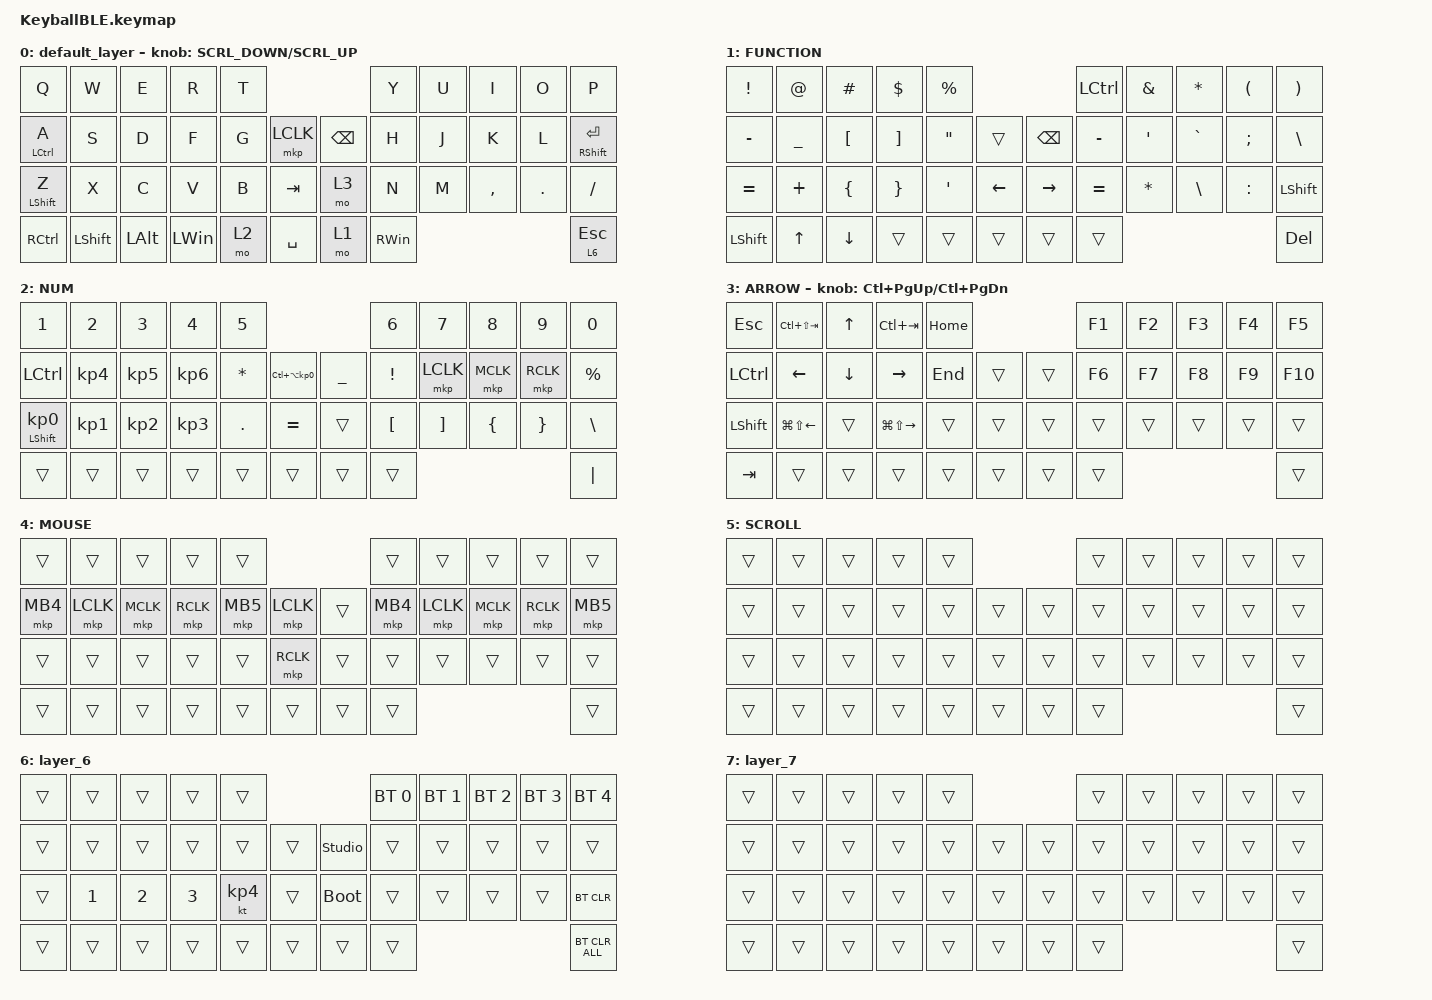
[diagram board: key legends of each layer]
#define ZMK_POINTING_DEFAULT_SCRL_VAL 120    // default: 10

#include <behaviors.dtsi>
#include <dt-bindings/zmk/bt.h>
#include <dt-bindings/zmk/keys.h>
#include <dt-bindings/zmk/pointing.h>

#define MOUSE 4
#define SCROLL 5
#define NUM 6

&mt {
    flavor = "balanced";
    quick-tap-ms = <0>;
};

/ {
    combos {
        compatible = "zmk,combos";

        double_quotation {
            bindings = <&kp DOUBLE_QUOTES>;
            key-positions = <20 21>;
        };
    };

    macros {
        to_layer_0: to_layer_0 {
            compatible = "zmk,behavior-macro-one-param";
            #binding-cells = <1>;
            bindings = <&to 0 &macro_param_1to1 &kp MACRO_PLACEHOLDER>;
            label = "TO_LAYER_0";
        };
    };

    behaviors {
        lt_to_layer_0: lt_to_layer_0 {
            compatible = "zmk,behavior-hold-tap";
            label = "LAYER_TAP_TO_0";
            bindings = <&mo>, <&to_layer_0>;

            #binding-cells = <2>;
            tapping-term-ms = <200>;
        };

        ROTATE: ROTATE {
            compatible = "zmk,behavior-sensor-rotate-var";
            label = "ROTATE";
            #sensor-binding-cells = <2>;
            bindings = <&msc>, <&msc>;

            tap-ms = <20>;
        };
    };

    keymap {
        compatible = "zmk,keymap";

        default_layer {
            bindings = <
&kp Q             &kp W           &kp E         &kp R         &kp T                                &kp Y          &kp U  &kp I      &kp O    &kp P
&mt LCTRL A       &kp S           &kp D         &kp F         &kp G  &mkp LCLK      &kp BACKSPACE  &kp H          &kp J  &kp K      &kp L    &mt RIGHT_SHIFT ENTER
&mt LEFT_SHIFT Z  &kp X           &kp C         &kp V         &kp B  &kp TAB        &mo 3          &kp N          &kp M  &kp COMMA  &kp DOT  &kp SLASH
&kp RCTRL         &kp LEFT_SHIFT  &kp LEFT_ALT  &kp LEFT_WIN  &mo 2  &kp SPACE      &mo 1          &kp RIGHT_WIN                             &lt 6 ESCAPE
            >;

            sensor-bindings = <&ROTATE SCRL_DOWN SCRL_UP>;
        };

        FUNCTION {
            bindings = <
&kp EXCLAMATION  &kp AT_SIGN     &kp POUND         &kp DOLLAR         &kp PERCENT                                             &kp LCTRL  &kp AMPERSAND  &kp ASTERISK   &kp LEFT_PARENTHESIS  &kp RIGHT_PARENTHESIS
&kp MINUS        &kp UNDERSCORE  &kp LEFT_BRACKET  &kp RIGHT_BRACKET  &kp DOUBLE_QUOTES  &trans              &kp BACKSPACE    &kp MINUS  &kp SQT        &kp GRAVE      &kp SEMICOLON         &kp BACKSLASH
&kp EQUAL        &kp PLUS        &kp LEFT_BRACE    &kp RIGHT_BRACE    &kp SQT            &kp LEFT_ARROW      &kp RIGHT_ARROW  &kp EQUAL  &kp ASTRK      &kp BACKSLASH  &kp COLON             &kp LEFT_SHIFT
&kp LEFT_SHIFT   &kp UP_ARROW    &kp DOWN_ARROW    &trans             &trans             &trans              &trans           &trans                                                         &kp DEL
            >;
        };

        NUM {
            bindings = <
&kp NUMBER_1                &kp NUMBER_2     &kp NUMBER_3     &kp NUMBER_4     &kp NUMBER_5                                               &kp NUMBER_6      &kp NUMBER_7       &kp NUMBER_8    &kp NUMBER_9     &kp NUMBER_0
&kp LCTRL                   &kp KP_NUMBER_4  &kp KP_NUMBER_5  &kp KP_NUMBER_6  &kp ASTERISK  &kp LC(LA(KP_NUMBER_0))      &kp UNDERSCORE  &kp EXCLAMATION   &mkp LCLK          &mkp MCLK       &mkp RCLK        &kp PERCENT
&mt LEFT_SHIFT KP_NUMBER_0  &kp KP_NUMBER_1  &kp KP_NUMBER_2  &kp KP_NUMBER_3  &kp PERIOD    &kp EQUAL                    &trans          &kp LEFT_BRACKET  &kp RIGHT_BRACKET  &kp LEFT_BRACE  &kp RIGHT_BRACE  &kp BACKSLASH
&trans                      &trans           &trans           &trans           &trans        &trans                       &trans          &trans                                                                &kp PIPE
            >;
        };

        ARROW {
            bindings = <
&kp ESCAPE      &kp LC(LS(TAB))         &kp UP_ARROW    &kp LC(TAB)              &kp HOME                      &kp F1  &kp F2  &kp F3  &kp F4  &kp F5
&kp LCTRL       &kp LEFT_ARROW          &kp DOWN_ARROW  &kp RIGHT_ARROW          &kp END   &trans      &trans  &kp F6  &kp F7  &kp F8  &kp F9  &kp F10
&kp LEFT_SHIFT  &kp LG(LS(LEFT_ARROW))  &trans          &kp LG(LS(RIGHT_ARROW))  &trans    &trans      &trans  &trans  &trans  &trans  &trans  &trans
&kp TAB         &trans                  &trans          &trans                   &trans    &trans      &trans  &trans                          &trans
            >;

            sensor-bindings = <&inc_dec_kp LC(PAGE_UP) LC(PAGE_DOWN)>;
        };

        MOUSE {
            bindings = <
&trans    &trans     &trans     &trans     &trans                           &trans    &trans     &trans     &trans     &trans
&mkp MB4  &mkp LCLK  &mkp MCLK  &mkp RCLK  &mkp MB5  &mkp LCLK      &trans  &mkp MB4  &mkp LCLK  &mkp MCLK  &mkp RCLK  &mkp MB5
&trans    &trans     &trans     &trans     &trans    &mkp RCLK      &trans  &trans    &trans     &trans     &trans     &trans
&trans    &trans     &trans     &trans     &trans    &trans         &trans  &trans                                     &trans
            >;
        };

        SCROLL {
            bindings = <
&trans  &trans  &trans  &trans  &trans                      &trans  &trans  &trans  &trans  &trans
&trans  &trans  &trans  &trans  &trans  &trans      &trans  &trans  &trans  &trans  &trans  &trans
&trans  &trans  &trans  &trans  &trans  &trans      &trans  &trans  &trans  &trans  &trans  &trans
&trans  &trans  &trans  &trans  &trans  &trans      &trans  &trans                          &trans
            >;
        };

        layer_6 {
            bindings = <
&trans  &trans        &trans        &trans        &trans                                 &bt BT_SEL 0  &bt BT_SEL 1  &bt BT_SEL 2  &bt BT_SEL 3  &bt BT_SEL 4
&trans  &trans        &trans        &trans        &trans     &trans      &studio_unlock  &trans        &trans        &trans        &trans        &trans
&trans  &kp NUMBER_1  &kp NUMBER_2  &kp NUMBER_3  &kt KP_N4  &trans      &bootloader     &trans        &trans        &trans        &trans        &bt BT_CLR
&trans  &trans        &trans        &trans        &trans     &trans      &trans          &trans                                                  &bt BT_CLR_ALL
            >;
        };

        layer_7 {
            bindings = <
&trans  &trans  &trans  &trans  &trans                      &trans  &trans  &trans  &trans  &trans
&trans  &trans  &trans  &trans  &trans  &trans      &trans  &trans  &trans  &trans  &trans  &trans
&trans  &trans  &trans  &trans  &trans  &trans      &trans  &trans  &trans  &trans  &trans  &trans
&trans  &trans  &trans  &trans  &trans  &trans      &trans  &trans                          &trans
            >;
        };
    };
};
